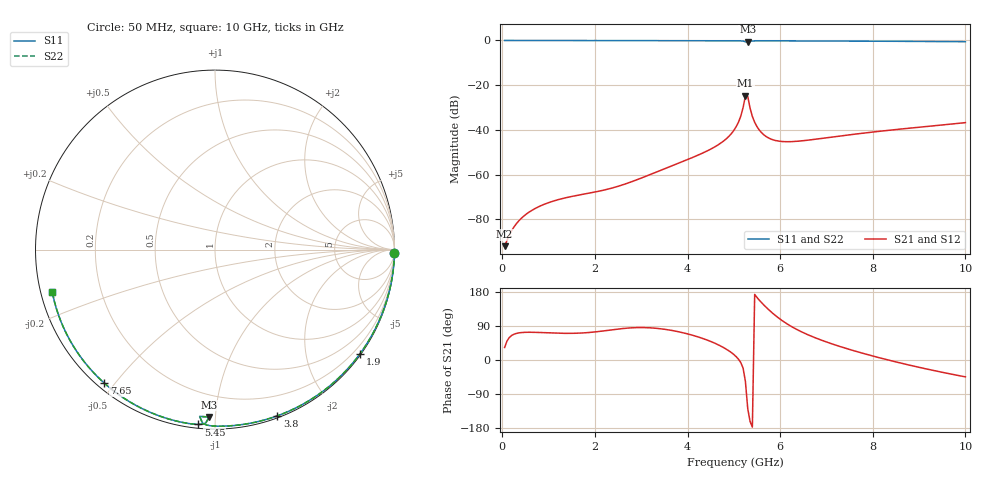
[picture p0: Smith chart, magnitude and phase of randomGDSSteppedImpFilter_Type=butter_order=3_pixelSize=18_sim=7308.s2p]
! freq	dB(S11)	phase(S11)	dB(S12)	phase(S12)
!  dB(S21)	phase(S21)	dB(S22)	phase(S22)
!S-par simulation data
#  GHz  S  DB  R 50
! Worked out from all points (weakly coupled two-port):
!   200 points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, 50 MHz to 10 GHz, reference 50 ohm
!   highest |S21| = -24.73 dB at 5.25 GHz (marker M1); lowest = -92.0 dB at 50 MHz (marker M2)
!   lowest |S11| = -0.6 dB at 5.3 GHz (marker M3), VSWR 28.79, Z = 3.35 - j48.2 ohm
!   |S11| at or under -10 dB: nowhere
!   |S22| runs from -0.6 to 0.0 dB; largest |S21 - S12| = 0
!   S11 on the Smith chart (normalised r, x): 50 MHz: open; 1.9 GHz: 0.03, -3.10; 3.8 GHz: 0.02, -1.44; 5.45 GHz: 0.02, -0.91; 7.65 GHz: 0.02, -0.47; 10 GHz: 0.03, -0.13
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0.05  -0.00 -1.0  -92.01 33.0  -92.01 33.0  -0.00 -1.0
0.4  -0.01 -7.7  -79.77 72.2  -79.77 72.2  -0.01 -7.7
0.9  -0.02 -17.2  -73.32 72.1  -73.32 72.1  -0.02 -17.2
1.75  -0.04 -33.0  -68.77 71.5  -68.77 71.5  -0.04 -33.0
1.9  -0.05 -35.8  -68.19 72.9  -68.19 72.9  -0.05 -35.8
2.55  -0.06 -47.6  -64.91 82.4  -64.91 82.4  -0.06 -47.6
3.4  -0.08 -62.6  -58.27 82.7  -58.27 82.7  -0.08 -62.6
3.8  -0.09 -69.4  -54.95 74.7  -54.95 74.7  -0.09 -69.4
4.65  -0.12 -83.7  -46.84 40.9  -46.84 40.9  -0.12 -83.7
4.9  -0.14 -88.0  -42.74 23.7  -42.74 23.7  -0.14 -87.9
5.05  -0.15 -90.6  -38.59 8.9  -38.59 8.9  -0.15 -90.6
5.15  -0.19 -92.7  -33.84 -6.8  -33.84 -6.8  -0.19 -92.7
5.25  -0.60 -95.3  -24.73 -56.8  -24.73 -56.8  -0.60 -95.2
5.3  -0.60 -92.0  -24.98 -128.1  -24.98 -128.1  -0.60 -92.0
5.35  -0.29 -93.0  -30.26 -162.1  -30.26 -162.1  -0.29 -93.0
5.45  -0.19 -95.4  -36.61 173.1  -36.61 173.1  -0.19 -95.4
5.6  -0.18 -98.2  -41.28 151.1  -41.28 151.1  -0.18 -98.2
5.85  -0.18 -102.3  -44.46 122.2  -44.46 122.2  -0.18 -102.3
6.7  -0.23 -115.4  -44.35 61.5  -44.35 61.5  -0.23 -115.4
7.65  -0.30 -129.7  -41.82 22.4  -41.82 22.4  -0.30 -129.7
8.35  -0.36 -140.2  -40.17 -0.5  -40.17 -0.5  -0.36 -140.1
10  -0.57 -165.3  -36.76 -44.5  -36.76 -44.5  -0.56 -165.3
